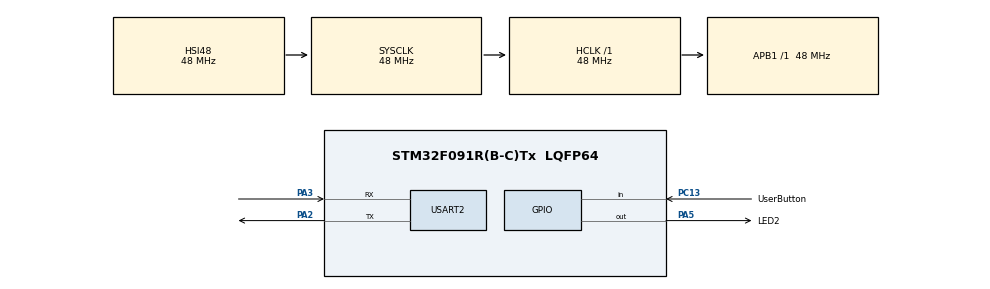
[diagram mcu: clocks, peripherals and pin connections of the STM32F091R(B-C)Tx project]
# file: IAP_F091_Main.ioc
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CRC.CRCLength=CRC_POLYLENGTH_16B
CRC.DefaultInitValueUse=DEFAULT_INIT_VALUE_DISABLE
CRC.DefaultPolynomialUse=DEFAULT_POLYNOMIAL_DISABLE
CRC.GeneratingPolynomial=X12+X5+X0
CRC.InitValue=0
Mcu.Family=STM32F0
Mcu.Name=STM32F091R(B-C)Tx
Mcu.Package=LQFP64
PA13.Mode=Serial_Wire
PA13.Signal=SYS_SWDIO
PA14.Mode=Serial_Wire
PA14.Signal=SYS_SWCLK
PA2.Mode=Asynchronous
PA2.Signal=USART2_TX
PA3.Mode=Asynchronous
PA3.Signal=USART2_RX
PA5.GPIO_Label=LED2
PA5.PinState=GPIO_PIN_SET
PA5.Signal=GPIO_Output
PC13.GPIO_Label=UserButton
PC13.GPIO_PuPd=GPIO_PULLUP
PC13.Signal=GPIO_Input
ProjectManager.HeapSize=0x200
ProjectManager.StackSize=0x400
ProjectManager.TargetToolchain=MDK-ARM V5
RCC.AHBFreq_Value=48000000
RCC.APB1Freq_Value=48000000
RCC.APB1TimFreq_Value=48000000
RCC.HCLKFreq_Value=48000000
RCC.SYSCLKFreq_VALUE=48000000
RCC.SYSCLKSource=RCC_SYSCLKSOURCE_HSI48
USART2.VirtualMode-Asynchronous=VM_ASYNC
USART2.WordLength=WORDLENGTH_8B
VP_CRC_VS_CRC.Mode=CRC_Activate
board=IAP_F091_Main

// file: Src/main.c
/**
  ******************************************************************************
  * File Name          : main.c
  * Description        : Main program body
  ******************************************************************************
  ** This notice applies to any and all portions of this file
  * that are not between comment pairs USER CODE BEGIN and
  * USER CODE END. Other portions of this file, whether
  * inserted by the user or by software development tools
  * are owned by their respective copyright owners.
  *
  * COPYRIGHT(c) 2017 STMicroelectronics
  *
  * Redistribution and use in source and binary forms, with or without modification,
  * are permitted provided that the following conditions are met:
  *   1. Redistributions of source code must retain the above copyright notice,
  *      this list of conditions and the following disclaimer.
  *   2. Redistributions in binary form must reproduce the above copyright notice,
  *      this list of conditions and the following disclaimer in the documentation
  *      and/or other materials provided with the distribution.
  *   3. Neither the name of STMicroelectronics nor the names of its contributors
  *      may be used to endorse or promote products derived from this software
  *      without specific prior written permission.
  *
  * THIS SOFTWARE IS PROVIDED BY THE COPYRIGHT HOLDERS AND CONTRIBUTORS "AS IS"
  * AND ANY EXPRESS OR IMPLIED WARRANTIES, INCLUDING, BUT NOT LIMITED TO, THE
  * IMPLIED WARRANTIES OF MERCHANTABILITY AND FITNESS FOR A PARTICULAR PURPOSE ARE
  * DISCLAIMED. IN NO EVENT SHALL THE COPYRIGHT HOLDER OR CONTRIBUTORS BE LIABLE
  * FOR ANY DIRECT, INDIRECT, INCIDENTAL, SPECIAL, EXEMPLARY, OR CONSEQUENTIAL
  * DAMAGES (INCLUDING, BUT NOT LIMITED TO, PROCUREMENT OF SUBSTITUTE GOODS OR
  * SERVICES; LOSS OF USE, DATA, OR PROFITS; OR BUSINESS INTERRUPTION) HOWEVER
  * CAUSED AND ON ANY THEORY OF LIABILITY, WHETHER IN CONTRACT, STRICT LIABILITY,
  * OR TORT (INCLUDING NEGLIGENCE OR OTHERWISE) ARISING IN ANY WAY OUT OF THE USE
  * OF THIS SOFTWARE, EVEN IF ADVISED OF THE POSSIBILITY OF SUCH DAMAGE.
  *
  ******************************************************************************
  */
#include "main.h"
#include "stm32f0xx_hal.h"

/* USER CODE BEGIN Includes */
#include "menu.h"

/* USER CODE END Includes */

CRC_HandleTypeDef hcrc;

UART_HandleTypeDef huart2;

/* USER CODE BEGIN PV */
/* Private variables ---------------------------------------------------------*/
extern pFunction JumpToApplication;
extern uint32_t JumpAddress;

/* USER CODE END PV */

void SystemClock_Config(void);
static void MX_GPIO_Init(void);
static void MX_USART2_UART_Init(void);
static void MX_CRC_Init(void);

/* USER CODE BEGIN PFP */
/* Private function prototypes -----------------------------------------------*/
int fputc(int ch, FILE *f);
/* USER CODE END PFP */

/* USER CODE BEGIN 0 */

int fputc(int ch, FILE *f)
{

	HAL_UART_Transmit(&huart2,(uint8_t *)&ch,1,1000);

	return ch;
}

/* USER CODE END 0 */

int main(void)
{

  /* MCU Configuration----------------------------------------------------------*/

  /* Reset of all peripherals, Initializes the Flash interface and the Systick. */
  HAL_Init();

  /* Configure the system clock */
  SystemClock_Config();

  /* Initialize all configured peripherals */
  MX_GPIO_Init();
  MX_USART2_UART_Init();
  MX_CRC_Init();

  /* USER CODE BEGIN 2 */

	  if (HAL_GPIO_ReadPin(UserButton_GPIO_Port,UserButton_Pin)== GPIO_PIN_RESET)
  {
    /* Initialise Flash */
    FLASH_If_Init();

    /* Display main menu */
    Main_Menu ();
  }
  /* Keep the user application running */
  else
  {
    /* Test if user code is programmed starting from address "APPLICATION_ADDRESS" */
    if (((*(__IO uint32_t*)APPLICATION_ADDRESS) & 0x2FFE0000 ) == 0x20000000)
    {
      /* Jump to user application */
      JumpAddress = *(__IO uint32_t*) (APPLICATION_ADDRESS + 4);
      JumpToApplication = (pFunction) JumpAddress;
      /* Initialize user application's Stack Pointer */
      __set_MSP(*(__IO uint32_t*) APPLICATION_ADDRESS);
      JumpToApplication();
    }
  }

  /* USER CODE END 2 */

  /* Infinite loop */
  while (1)
  {

  }

}

/** System Clock Configuration
*/
void SystemClock_Config(void)
{

  RCC_OscInitTypeDef RCC_OscInitStruct;
  RCC_ClkInitTypeDef RCC_ClkInitStruct;
  RCC_PeriphCLKInitTypeDef PeriphClkInit;

    /**Initializes the CPU, AHB and APB busses clocks
    */
  RCC_OscInitStruct.OscillatorType = RCC_OSCILLATORTYPE_HSI48;
  RCC_OscInitStruct.HSI48State = RCC_HSI48_ON;
  RCC_OscInitStruct.PLL.PLLState = RCC_PLL_NONE;
  if (HAL_RCC_OscConfig(&RCC_OscInitStruct) != HAL_OK)
  {
    _Error_Handler(__FILE__, __LINE__);
  }

    /**Initializes the CPU, AHB and APB busses clocks
    */
  RCC_ClkInitStruct.ClockType = RCC_CLOCKTYPE_HCLK|RCC_CLOCKTYPE_SYSCLK
                              |RCC_CLOCKTYPE_PCLK1;
  RCC_ClkInitStruct.SYSCLKSource = RCC_SYSCLKSOURCE_HSI48;
  RCC_ClkInitStruct.AHBCLKDivider = RCC_SYSCLK_DIV1;
  RCC_ClkInitStruct.APB1CLKDivider = RCC_HCLK_DIV1;

  if (HAL_RCC_ClockConfig(&RCC_ClkInitStruct, FLASH_LATENCY_1) != HAL_OK)
  {
    _Error_Handler(__FILE__, __LINE__);
  }

  PeriphClkInit.PeriphClockSelection = RCC_PERIPHCLK_USART2;
  PeriphClkInit.Usart2ClockSelection = RCC_USART2CLKSOURCE_PCLK1;
  if (HAL_RCCEx_PeriphCLKConfig(&PeriphClkInit) != HAL_OK)
  {
    _Error_Handler(__FILE__, __LINE__);
  }

    /**Configure the Systick interrupt time
    */
  HAL_SYSTICK_Config(HAL_RCC_GetHCLKFreq()/1000);

    /**Configure the Systick
    */
  HAL_SYSTICK_CLKSourceConfig(SYSTICK_CLKSOURCE_HCLK);

  /* SysTick_IRQn interrupt configuration */
  HAL_NVIC_SetPriority(SysTick_IRQn, 0, 0);
}

/* CRC init function */
static void MX_CRC_Init(void)
{

  hcrc.Instance = CRC;
  hcrc.Init.DefaultPolynomialUse = DEFAULT_POLYNOMIAL_DISABLE;
  hcrc.Init.DefaultInitValueUse = DEFAULT_INIT_VALUE_DISABLE;
  hcrc.Init.GeneratingPolynomial = 4129;
  hcrc.Init.CRCLength = CRC_POLYLENGTH_16B;
  hcrc.Init.InitValue = 0;
  hcrc.Init.InputDataInversionMode = CRC_INPUTDATA_INVERSION_NONE;
  hcrc.Init.OutputDataInversionMode = CRC_OUTPUTDATA_INVERSION_DISABLE;
  hcrc.InputDataFormat = CRC_INPUTDATA_FORMAT_BYTES;
  if (HAL_CRC_Init(&hcrc) != HAL_OK)
  {
    _Error_Handler(__FILE__, __LINE__);
  }

  if (HAL_CRCEx_Init(&hcrc) != HAL_OK)
  {
    _Error_Handler(__FILE__, __LINE__);
  }

}

/* USART2 init function */
static void MX_USART2_UART_Init(void)
{

  huart2.Instance = USART2;
  huart2.Init.BaudRate = 115200;
  huart2.Init.WordLength = UART_WORDLENGTH_8B;
  huart2.Init.StopBits = UART_STOPBITS_1;
  huart2.Init.Parity = UART_PARITY_NONE;
  huart2.Init.Mode = UART_MODE_TX_RX;
  huart2.Init.HwFlowCtl = UART_HWCONTROL_NONE;
  huart2.Init.OverSampling = UART_OVERSAMPLING_16;
  huart2.Init.OneBitSampling = UART_ONE_BIT_SAMPLE_DISABLE;
  huart2.AdvancedInit.AdvFeatureInit = UART_ADVFEATURE_NO_INIT;
  if (HAL_UART_Init(&huart2) != HAL_OK)
  {
    _Error_Handler(__FILE__, __LINE__);
  }

}

/** Configure pins as
        * Analog
        * Input
        * Output
        * EVENT_OUT
        * EXTI
*/
static void MX_GPIO_Init(void)
{

  GPIO_InitTypeDef GPIO_InitStruct;

  /* GPIO Ports Clock Enable */
  __HAL_RCC_GPIOC_CLK_ENABLE();
  __HAL_RCC_GPIOA_CLK_ENABLE();

  /*Configure GPIO pin Output Level */
  HAL_GPIO_WritePin(LED2_GPIO_Port, LED2_Pin, GPIO_PIN_SET);

  /*Configure GPIO pin : UserButton_Pin */
  GPIO_InitStruct.Pin = UserButton_Pin;
  GPIO_InitStruct.Mode = GPIO_MODE_INPUT;
  GPIO_InitStruct.Pull = GPIO_PULLUP;
  HAL_GPIO_Init(UserButton_GPIO_Port, &GPIO_InitStruct);

  /*Configure GPIO pin : LED2_Pin */
  GPIO_InitStruct.Pin = LED2_Pin;
  GPIO_InitStruct.Mode = GPIO_MODE_OUTPUT_PP;
  GPIO_InitStruct.Pull = GPIO_NOPULL;
  GPIO_InitStruct.Speed = GPIO_SPEED_FREQ_LOW;
  HAL_GPIO_Init(LED2_GPIO_Port, &GPIO_InitStruct);

}

void _Error_Handler(char * file, int line)
{
  while(1)
  {
  }
}

/************************ (C) COPYRIGHT STMicroelectronics *****END OF FILE****/
